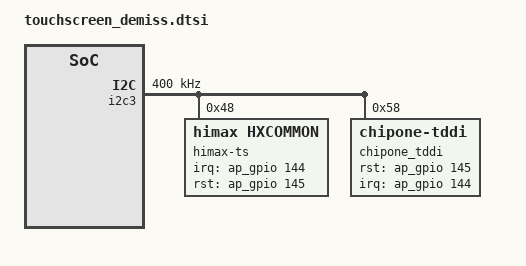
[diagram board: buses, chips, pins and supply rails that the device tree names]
&i2c3 {
	status = "okay";
	clock-frequency = <400000>;
	/delete-node/ adaptive-touchscreen@38;
	himax-ts@48 {
		compatible = "himax,hxcommon";
		reg = <0x48>;
		himax,panel-coords = <0 719 0 1639>;
		himax,display-coords = <0 719 0 1639>;
		himax,irq-gpio = <&ap_gpio 144 0x2008>;
		himax,rst-gpio = <&ap_gpio 145 0>;
		report_type = <1>;
	};

	chipone_tddi@58 {
		compatible = "chipone-tddi";
		reg = <0x58>;
		chipone,rst-gpio = <&ap_gpio 145 0>;
		chipone,irq-gpio = <&ap_gpio 144 0x2008>;
		chipone,x-res = <719>;
		chipone,y-res = <1639>;
	};
};
